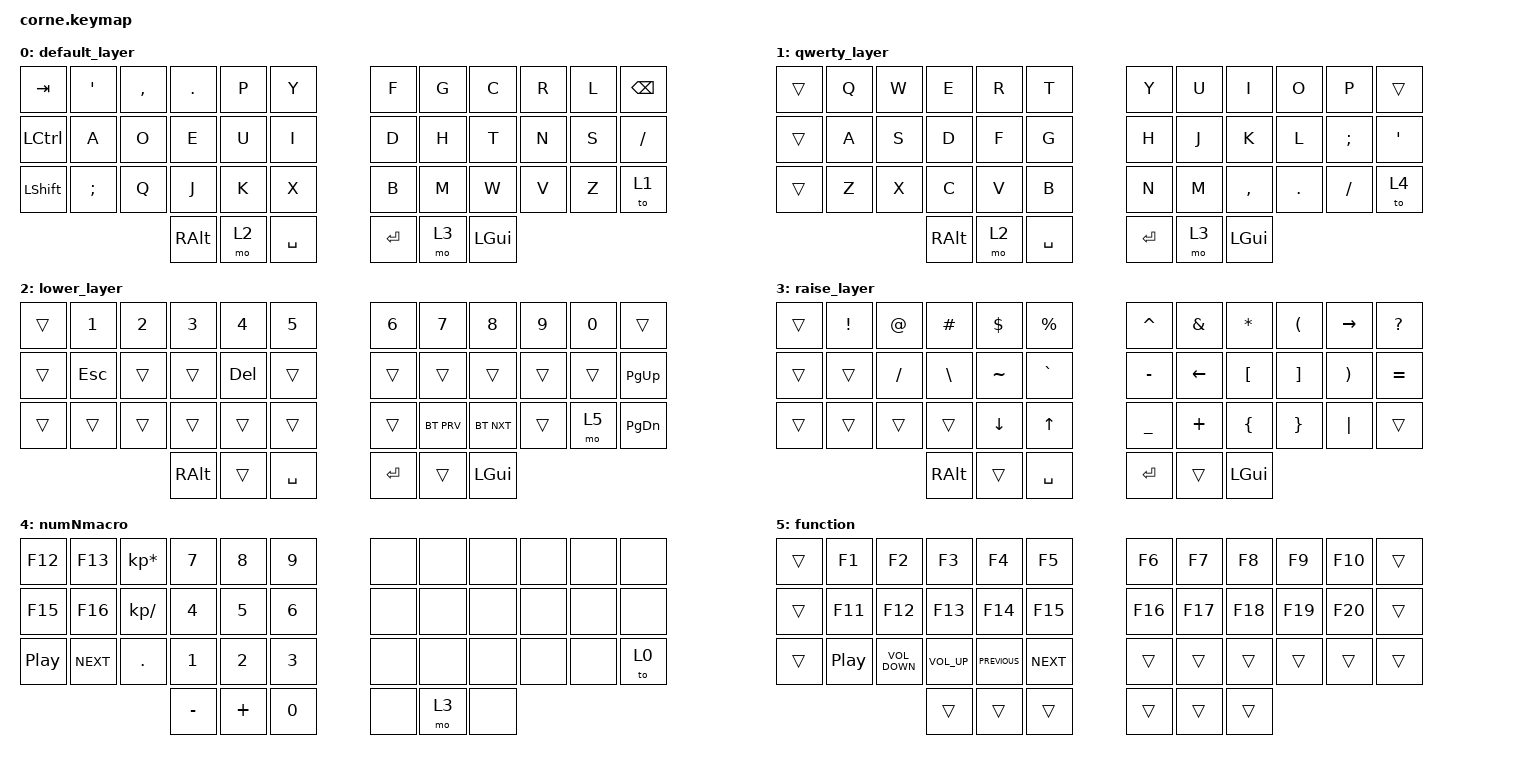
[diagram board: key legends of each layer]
/*
 * Copyright (c) 2020 The ZMK Contributors
 *
 * SPDX-License-Identifier: MIT
 */

#include <behaviors.dtsi>
#include <dt-bindings/zmk/bt.h>
#include <dt-bindings/zmk/keys.h>

#define COMBO(NAME, BINDINGS, KEYPOS) \
  combo_##NAME { \
    timeout-ms = <50>; \
    bindings = <BINDINGS>; \
    key-positions = <KEYPOS>; \
    layers = <0>; \
  };

/ {
    combos {
        compatible = "zmk,combos";

        COMBO(btClear, &bt BT_CLR, 24 35)

        bt_clr {
            bindings = <&bt BT_CLR>;
            key-positions = <24 35>;
        };
    };

    // |  0   |  1  |  2  |  3  |  4  |  5  |   |  6  |  7   |  8  |  9  |  10 | 11   |
    // | 12   |  13 |  14 |  15 |  16 |  17 |   |  18 |  19  |  20 |  21 |  22 |  23  |
    // | 24   |  25 |  26 |  2 7|  28 |  29 |   |  30 |  31  |  32 |  33 |  34 | 35   |
    //                    | 36  | 37  | 38  |   | 39  | 40   | 41  |

    keymap {
        compatible = "zmk,keymap";

        default_layer {
            // -----------------------------------------------------------------------------------------
            // |  TAB |  Q  |  W  |  E  |  R  |  T  |   |  Y  |  U   |  I  |  O  |  P  | BKSP |
            // | CTRL |  A  |  S  |  D  |  F  |  G  |   |  H  |  J   |  K  |  L  |  ;  |  '   |
            // | SHFT |  Z  |  X  |  C  |  V  |  B  |   |  N  |  M   |  ,  |  .  |  /  | ESC  |
            //                    | GUI | LWR | SPC |   | ENT | RSE  | ALT |
            // -----------------------------------------------------------------------------------------
            // |  ESC |  '  |  ,  |  .  |  P  |  Y  |   |  F  |  G   |  C  |  R  |  L  | BKSP |
            // |  CTRL|  A  |  O  |  E  |  U  |  I  |   |  D  |  H   |  T  |  N  |  S  |  TAB |
            // |  SHFT|  ;  |  Q  |  J  |  K  |  X  |   |  B  |  M   |  W  |  V  |  Z  |      |
            //                    |ALT  | LWR | SPC |   | RET | RSE  | GUI |

            bindings = <
&kp TAB     &kp SQT   &kp COMMA  &kp DOT   &kp P  &kp Y        &kp F    &kp G  &kp C     &kp R  &kp L  &kp BSPC
&kp LCTRL   &kp A     &kp O      &kp E     &kp U  &kp I        &kp D    &kp H  &kp T     &kp N  &kp S  &kp FSLH
&kp LSHIFT  &kp SEMI  &kp Q      &kp J     &kp K  &kp X        &kp B    &kp M  &kp W     &kp V  &kp Z  &to 1
                                 &kp RALT  &mo 2  &kp SPACE    &kp RET  &mo 3  &kp LGUI
            >;
        };

        qwerty_layer {
            bindings = <
&trans  &kp Q  &kp W  &kp E     &kp R  &kp T        &kp Y    &kp U  &kp I      &kp O    &kp P     &trans
&trans  &kp A  &kp S  &kp D     &kp F  &kp G        &kp H    &kp J  &kp K      &kp L    &kp SEMI  &kp SQT
&trans  &kp Z  &kp X  &kp C     &kp V  &kp B        &kp N    &kp M  &kp COMMA  &kp DOT  &kp FSLH  &to 4
                      &kp RALT  &mo 2  &kp SPACE    &kp RET  &mo 3  &kp LGUI
            >;
        };

        lower_layer {
            // -----------------------------------------------------------------------------------------
            // |      |  1  |  2  |  3  |  4  |  5  |   |  6  |  7  |  8  |  9  |  0  |      |
            // | BTCLR| BT1 | BT2 | BT3 | BT4 | BT5 |   | LFT | DWN |  UP | RGT |     |      |
            // |      |     |     |     |     |     |   |     |     |     |     |     |      |
            //                    | GUI |     | SPC |   | ENT |     | ALT |
            // -----------------------------------------------------------------------------------------
            // |      |  1  |  2  |  3  |  4  |  5  |   |  6  |  7    |  8  |  9  |  0  |      |
            // |      |     |     | CTRL| Dbak|     |   |  LFT|  DWN  |  UP | RGT |     |      |
            // |      |     |     |     |     |     |   |     |       |     |     |     |      |
            //                    |     |     |     |   |     |       |     |

            bindings = <
&trans  &kp NUMBER_1  &kp NUMBER_2  &kp NUMBER_3  &kp NUMBER_4  &kp NUMBER_5    &kp NUMBER_6  &kp N7      &kp NUMBER_8  &kp NUMBER_9  &kp NUMBER_0  &trans
&trans  &kp ESC       &trans        &trans        &kp DEL       &trans          &trans        &trans      &trans        &trans        &trans        &kp PAGE_UP
&trans  &trans        &trans        &trans        &trans        &trans          &trans        &bt BT_PRV  &bt BT_NXT    &trans        &mo 5         &kp PAGE_DOWN
                                    &kp RALT      &trans        &kp SPACE       &kp RET       &trans      &kp LGUI
            >;
        };

        raise_layer {
            // -----------------------------------------------------------------------------------------
            // |  TAB |  !  |  @  |  #  |  $  |  %  |   |  ^  |  &  |  *  |  (  |  )  | BKSP |
            // | CTRL |     |     |     |     |a     |   |  -  |  =  |  [  |  ]  |  \  |  `   |
            // | SHFT |     |     |     |     |     |   |  _  |  +  |  {  |  }  | "|" |  ~   |
            //                    | GUI |     | SPC |   | ENT |     | ALT |
            // -----------------------------------------------------------------------------------------
            // |      |  !  |  @  |  #  |  $  |  %  |   |  ^  |  &  |  *  |  (  |  )  |      |
            // |      |     | FSLH| BSLH| TIL | GRA |   |  -  |  =  |  [  |  ]  | QUES|      |
            // |      |  BT1| BT2 | BT3 | BT4 | BT5 |   |  _  |  +  |  {  |  }  | "|" |      |
            //                    |     |     |     |   |     |     |     |

            bindings = <
&trans  &kp EXCLAMATION  &kp AT_SIGN  &kp POUND  &kp DOLLAR  &kp PRCNT    &kp CARET  &kp AMPS  &kp ASTERISK  &kp LPAR  &kp RIGHT              &kp QUESTION
&trans  &trans           &kp FSLH     &kp BSLH   &kp TILDE   &kp GRAVE    &kp MINUS  &kp LEFT  &kp LBKT      &kp RBKT  &kp RIGHT_PARENTHESIS  &kp EQUAL
&trans  &trans           &trans       &trans     &kp DOWN    &kp UP       &kp UNDER  &kp PLUS  &kp LBRC      &kp RBRC  &kp PIPE               &trans
                                      &kp RALT   &trans      &kp SPACE    &kp RET    &trans    &kp LGUI
            >;
        };

        numNmacro {
            bindings = <
&kp F12           &kp F13     &kp KP_MULTIPLY  &kp N7     &kp N8    &kp N9    &none  &none  &none  &none  &none  &none
&kp F15           &kp F16     &kp KP_DIVIDE    &kp N4     &kp N5    &kp N6    &none  &none  &none  &none  &none  &none
&kp C_PLAY_PAUSE  &kp C_NEXT  &kp DOT          &kp N1     &kp N2    &kp N3    &none  &none  &none  &none  &none  &to 0
                                               &kp MINUS  &kp PLUS  &kp N0    &none  &mo 3  &none
            >;
        };

        function {
            bindings = <
&trans  &kp F1            &kp F2             &kp F3           &kp F4          &kp F5        &kp F6   &kp F7   &kp F8   &kp F9   &kp F10  &trans
&trans  &kp F11           &kp F12            &kp F13          &kp F14         &kp F15       &kp F16  &kp F17  &kp F18  &kp F19  &kp F20  &trans
&trans  &kp C_PLAY_PAUSE  &kp C_VOLUME_DOWN  &kp C_VOLUME_UP  &kp C_PREVIOUS  &kp C_NEXT    &trans   &trans   &trans   &trans   &trans   &trans
                                             &trans           &trans          &trans        &trans   &trans   &trans
            >;
        };
    };
};
